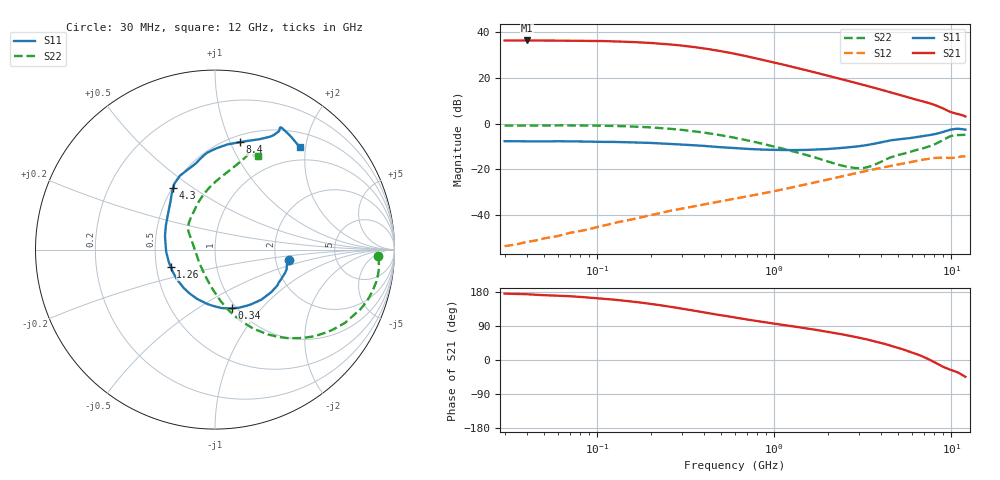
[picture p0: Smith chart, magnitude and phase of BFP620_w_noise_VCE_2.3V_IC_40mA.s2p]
! Infineon Technologies  Discrete & RF Semiconductors
! BFP620
! VCE =  2.3 V,  IC =  40 mA
! Common Emitter S-Parameters:  Nov 2015
# GHz  S  MA  R  50
!  f  S11  S21  S12  S22
! GHz  MAG  ANG  MAG  ANG  MAG  ANG  MAG  ANG
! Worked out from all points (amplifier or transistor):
!   239 points, 30 MHz to 12 GHz, reference 50 ohm
!   highest |S21| = 36.4 dB at 40 MHz (marker M1)
!   |S21| within 3 dB of that: start of sweep to 362 MHz
!   unconditionally stable (mu >= 1): 2.156 GHz to end of sweep
!   at 300 MHz: K = 0.47, MSG = 35.7 dB, |S12| = -37.1 dB
!   at 1.88 GHz: K = 0.98, MSG = 23.2 dB, |S12| = -24.9 dB
!   at 12 GHz: K = 1.09, MAG = 6.9 dB, |S12| = -14.3 dB
!   lowest NFmin = 1.33 dB at 450 MHz
!   S11 on the Smith chart (normalised r, x): 30 MHz: 2.37, -0.32; 340 MHz: 0.95, -0.71; 1.26 GHz: 0.59, -0.12; 4.3 GHz: 0.50, +0.42; 8.4 GHz: 0.57, +1.09; 12 GHz: 0.75, +1.89
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0.03  0.4155 -7.7  65.97 175.2  0.0021 67.2  0.9091 -2.4
0.04  0.4117 -10.4  66.16 173.6  0.0026 69.2  0.9148 -4.2
0.05  0.4091 -12.4  65.89 171.0  0.0031 70.8  0.919 -6.0
0.07  0.4118 -18.2  65.64 168.3  0.0041 72.1  0.9185 -9.5
0.085  0.4075 -21.0  64.91 165.6  0.0047 73.0  0.9144 -12.0
0.115  0.4003 -28.3  63.72 160.6  0.0062 73.0  0.8997 -17.0
0.145  0.3943 -35.4  61.95 156.0  0.0076 72.2  0.8791 -21.6
0.195  0.3811 -46.0  58.66 148.8  0.0098 70.7  0.8353 -28.7
0.24  0.3667 -55.4  55.42 142.8  0.0117 69.5  0.7921 -34.4
0.3  0.3508 -67.1  51.15 135.5  0.0139 68.0  0.7337 -41.2
0.34  0.3406 -74.0  48.32 131.4  0.0153 67.2  0.6945 -45.1
0.44  0.3176 -89.4  41.88 122.5  0.0184 65.6  0.6055 -53.6
0.6  0.2925 -109.9  33.74 111.9  0.023 64.2  0.4912 -64.0
0.8  0.2757 -129.3  26.61 102.6  0.0283 63.3  0.3879 -73.2
1  0.2683 -144.1  21.82 95.9  0.0336 62.5  0.3163 -80.4
1.26  0.2649 -158.7  17.6 89.1  0.0405 61.4  0.252 -88.3
1.64  0.2706 -175.6  13.67 81.0  0.0506 59.0  0.1899 -99.9
2.6  0.3036 154.8  8.664 64.8  0.0755 50.9  0.1139 -140.2
4.3  0.4158 124.0  5.14 41.1  0.1144 33.8  0.167 148.7
4.5  0.4314 121.7  4.886 38.3  0.1186 31.9  0.1818 144.9
8.4  0.6145 77.0  2.41 -10.7  0.1798 -9.1  0.3839 88.7
12  0.7409 50.4  1.441 -44.2  0.1922 -37.7  0.5755 65.3
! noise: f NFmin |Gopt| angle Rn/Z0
0.45  1.33  0.22  -164  0.1
0.9  1.34  0.26  -152  0.1
1.9  1.35  0.29  -138  0.11
2.4  1.37  0.29  -136  0.12
3.5  1.41  0.36  -103  0.2
5.5  1.7  0.39  -84  0.26
10  2.02  0.64  -44  1.05
